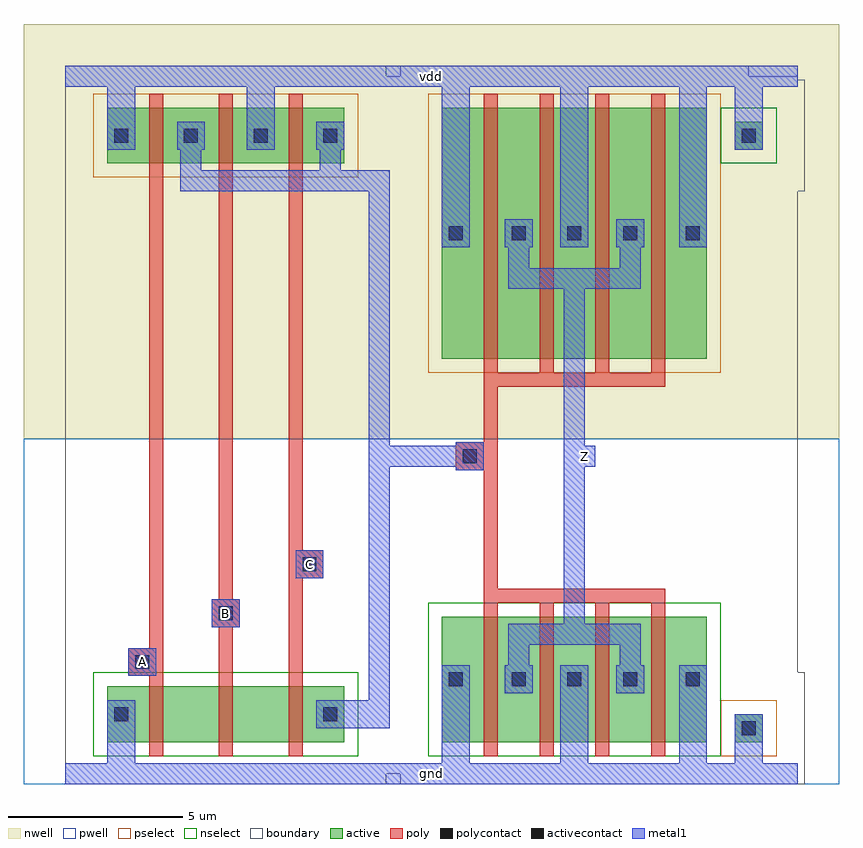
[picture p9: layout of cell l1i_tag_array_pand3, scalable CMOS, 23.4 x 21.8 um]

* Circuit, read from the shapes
.subckt l1i_tag_array_pand3 A B C Z gnd vdd
M1 l1i_tag_array_pnand3_0_0/l1i_tag_array_nmos_m1_w1_600_sm1_dactive_3/D A gnd gnd nfet w=1.6u l=0.4u
M2 l1i_tag_array_pnand3_0_0/l1i_tag_array_nmos_m1_w1_600_sactive_dactive_4/D B l1i_tag_array_pnand3_0_0/l1i_tag_array_nmos_m1_w1_600_sm1_dactive_3/D gnd nfet w=1.6u l=0.4u
M3 l1i_tag_array_pdriver_2_1/A C l1i_tag_array_pnand3_0_0/l1i_tag_array_nmos_m1_w1_600_sactive_dactive_4/D gnd nfet w=1.6u l=0.4u
M4 Z l1i_tag_array_pdriver_2_1/A gnd gnd nfet w=3.6u l=0.4u m=4
M5 l1i_tag_array_pdriver_2_1/A A vdd vdd pfet w=1.6u l=0.4u
M6 vdd B l1i_tag_array_pdriver_2_1/A vdd pfet w=1.6u l=0.4u
M7 l1i_tag_array_pdriver_2_1/A C vdd vdd pfet w=1.6u l=0.4u
M8 Z l1i_tag_array_pdriver_2_1/A vdd vdd pfet w=7.2u l=0.4u m=4
.ends

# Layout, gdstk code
import gdstk
lib = gdstk.Library(unit=1e-6, precision=1e-09)
def R(c, l, rs):  # rectangles x0, y0, x1, y1
    for r in rs: c.add(gdstk.rectangle(r[:2], r[2:], *l))
def A(c, l, x, y, w, h, nx, ny, dx, dy):  # array of equal rectangles
    R(c, l, [(x+i*dx, y+j*dy, x+i*dx+w, y+j*dy+h) for i in range(nx) for j in range(ny)])
pwell = (41, 0)
nwell = (42, 0)
active = (43, 0)
pselect = (44, 0)
nselect = (45, 0)
poly = (46, 0)
polycontact = (47, 0)
activecontact = (48, 0)
metal1 = (49, 0)
boundary = (63, 0)

l1i_tag_array_contact_11 = lib.new_cell('l1i_tag_array_contact_11')
R(l1i_tag_array_contact_11, nwell, [(-1.2,-1.2,2,2)])
R(l1i_tag_array_contact_11, active, [(0,0,0.8,0.8)])
R(l1i_tag_array_contact_11, pselect, [(-0.4,-0.4,1.2,1.2)])
R(l1i_tag_array_contact_11, activecontact, [(0.2,0.2,0.6,0.6)])
R(l1i_tag_array_contact_11, metal1, [(0,0,0.8,0.8)])
R(l1i_tag_array_contact_11, boundary, [(-1.2,-1.2,2,2)])

l1i_tag_array_pmos_m1_w1 = lib.new_cell('l1i_tag_array_pmos_m1_w1_600_sm1_dm1')
R(l1i_tag_array_pmos_m1_w1, nwell, [(-1.2,-1.2,4,2.8)])
R(l1i_tag_array_pmos_m1_w1, active, [(0,0,2.8,1.6)])
R(l1i_tag_array_pmos_m1_w1, pselect, [(-0.4,-0.4,3.2,2)])
R(l1i_tag_array_pmos_m1_w1, poly, [(1.2,-0.4,1.6,2), (1.2,-0.4,1.6,2)])
R(l1i_tag_array_pmos_m1_w1, metal1, [(0,0.4,0.8,1.2), (2,0.4,2.8,1.2)])
R(l1i_tag_array_pmos_m1_w1, boundary, [(-1.2,-1.2,4,2.8)])
l1i_tag_array_pmos_m1_w1.add(gdstk.Reference(l1i_tag_array_contact_11, (0,0.4)))
l1i_tag_array_pmos_m1_w1.add(gdstk.Reference(l1i_tag_array_contact_11, (2,0.4)))
l1i_tag_array_pmos_m1_w1.add(gdstk.Label('G', (1.4,0.8), layer=46, texttype=0))
l1i_tag_array_pmos_m1_w1.add(gdstk.Label('S', (0.4,0.8), layer=49, texttype=0))
l1i_tag_array_pmos_m1_w1.add(gdstk.Label('D', (2.4,0.8), layer=49, texttype=0))

l1i_tag_array_contact_10 = lib.new_cell('l1i_tag_array_contact_10')
R(l1i_tag_array_contact_10, pwell, [(-1.2,-1.2,2,2)])
R(l1i_tag_array_contact_10, active, [(0,0,0.8,0.8)])
R(l1i_tag_array_contact_10, nselect, [(-0.4,-0.4,1.2,1.2)])
R(l1i_tag_array_contact_10, activecontact, [(0.2,0.2,0.6,0.6)])
R(l1i_tag_array_contact_10, metal1, [(0,0,0.8,0.8)])
R(l1i_tag_array_contact_10, boundary, [(-1.2,-1.2,2,2)])

l1i_tag_array_nmos_m1_w1 = lib.new_cell('l1i_tag_array_nmos_m1_w1_600_sm1_dactive')
R(l1i_tag_array_nmos_m1_w1, pwell, [(-1.2,-1.2,4,2.8)])
R(l1i_tag_array_nmos_m1_w1, active, [(0,0,2.8,1.6), (2.1,0.5,2.7,1.1)])
R(l1i_tag_array_nmos_m1_w1, nselect, [(-0.4,-0.4,3.2,2)])
R(l1i_tag_array_nmos_m1_w1, poly, [(1.2,-0.4,1.6,2), (1.2,-0.4,1.6,2)])
R(l1i_tag_array_nmos_m1_w1, metal1, [(0,0.4,0.8,1.2)])
R(l1i_tag_array_nmos_m1_w1, boundary, [(-1.2,-1.2,4,2.8)])
l1i_tag_array_nmos_m1_w1.add(gdstk.Reference(l1i_tag_array_contact_10, (0,0.4)))
l1i_tag_array_nmos_m1_w1.add(gdstk.Label('G', (1.4,0.8), layer=46, texttype=0))
l1i_tag_array_nmos_m1_w1.add(gdstk.Label('S', (0.4,0.8), layer=49, texttype=0))
l1i_tag_array_nmos_m1_w1.add(gdstk.Label('D', (2.4,0.8), layer=43, texttype=0))

c_l1i_tag_array_nmos_m1_w1 = lib.new_cell('l1i_tag_array_nmos_m1_w1_600_sactive_dactive')
R(c_l1i_tag_array_nmos_m1_w1, pwell, [(-1.2,-1.2,4,2.8)])
R(c_l1i_tag_array_nmos_m1_w1, active, [(0,0,2.8,1.6), (0.1,0.5,0.7,1.1), (2.1,0.5,2.7,1.1)])
R(c_l1i_tag_array_nmos_m1_w1, nselect, [(-0.4,-0.4,3.2,2)])
R(c_l1i_tag_array_nmos_m1_w1, poly, [(1.2,-0.4,1.6,2), (1.2,-0.4,1.6,2)])
R(c_l1i_tag_array_nmos_m1_w1, boundary, [(-1.2,-1.2,4,2.8)])
c_l1i_tag_array_nmos_m1_w1.add(gdstk.Label('G', (1.4,0.8), layer=46, texttype=0))
c_l1i_tag_array_nmos_m1_w1.add(gdstk.Label('S', (0.4,0.8), layer=43, texttype=0))
c_l1i_tag_array_nmos_m1_w1.add(gdstk.Label('D', (2.4,0.8), layer=43, texttype=0))

c_l1i_tag_array_nmos_m1_w1_ = lib.new_cell('l1i_tag_array_nmos_m1_w1_600_sactive_dm1')
R(c_l1i_tag_array_nmos_m1_w1_, pwell, [(-1.2,-1.2,4,2.8)])
R(c_l1i_tag_array_nmos_m1_w1_, active, [(0,0,2.8,1.6), (0.1,0.5,0.7,1.1)])
R(c_l1i_tag_array_nmos_m1_w1_, nselect, [(-0.4,-0.4,3.2,2)])
R(c_l1i_tag_array_nmos_m1_w1_, poly, [(1.2,-0.4,1.6,2), (1.2,-0.4,1.6,2)])
R(c_l1i_tag_array_nmos_m1_w1_, metal1, [(2,0.4,2.8,1.2)])
R(c_l1i_tag_array_nmos_m1_w1_, boundary, [(-1.2,-1.2,4,2.8)])
c_l1i_tag_array_nmos_m1_w1_.add(gdstk.Reference(l1i_tag_array_contact_10, (2,0.4)))
c_l1i_tag_array_nmos_m1_w1_.add(gdstk.Label('G', (1.4,0.8), layer=46, texttype=0))
c_l1i_tag_array_nmos_m1_w1_.add(gdstk.Label('S', (0.4,0.8), layer=43, texttype=0))
c_l1i_tag_array_nmos_m1_w1_.add(gdstk.Label('D', (2.4,0.8), layer=49, texttype=0))

l1i_tag_array_contact_14 = lib.new_cell('l1i_tag_array_contact_14')
R(l1i_tag_array_contact_14, poly, [(0,0,0.8,0.8)])
R(l1i_tag_array_contact_14, polycontact, [(0.2,0.2,0.6,0.6)])
R(l1i_tag_array_contact_14, metal1, [(0,0,0.8,0.8)])
R(l1i_tag_array_contact_14, boundary, [(0,0,0.8,0.8)])

l1i_tag_array_pnand3_0 = lib.new_cell('l1i_tag_array_pnand3_0')
R(l1i_tag_array_pnand3_0, pwell, [(-1.2,-0.3,10.8,9.6)])
R(l1i_tag_array_pnand3_0, nwell, [(-1.2,9.6,10.8,21.5)])
A(l1i_tag_array_pnand3_0, poly, 2.4, 2.9, 0.4, 14.2, 3, 1, 2, 0)
R(l1i_tag_array_pnand3_0, poly, [(2.2,2.8,2.4,3.6), (4.4,4.2,4.6,5), (6.4,5.6,7,6.4)])
R(l1i_tag_array_pnand3_0, metal1, [(0,-0.3,9.6,0.3), (1.2,-0.3,2,1.3), (7.6,1.3,9,2.1), (8.7,1.3,9.3,17), (1.8,2.8,2.6,3.6), (4.2,4.2,5,5), (6.6,5.6,7.4,6.4), (3.3,16.7,3.9,17.3), (3.6,16.7,9,17.3), (7.3,16.7,7.9,17.3), (7.6,16.7,9,17.3), (8.7,16.7,9.3,17.3), (3.3,17,3.9,18.3), (7.3,17,7.9,18.3), (1.2,17.9,2,20.3), (5.2,17.9,6,20.3), (0,19.7,9.6,20.3)])
R(l1i_tag_array_pnand3_0, boundary, [(0,0,9.6,20), (0,0,9.6,20)])
l1i_tag_array_pnand3_0.add(gdstk.Reference(l1i_tag_array_pmos_m1_w1, (1.2,17.5)))
l1i_tag_array_pnand3_0.add(gdstk.Reference(l1i_tag_array_pmos_m1_w1, (3.2,17.5)))
l1i_tag_array_pnand3_0.add(gdstk.Reference(l1i_tag_array_pmos_m1_w1, (5.2,17.5)))
l1i_tag_array_pnand3_0.add(gdstk.Reference(l1i_tag_array_nmos_m1_w1, (1.2,0.9)))
l1i_tag_array_pnand3_0.add(gdstk.Reference(c_l1i_tag_array_nmos_m1_w1, (3.2,0.9)))
l1i_tag_array_pnand3_0.add(gdstk.Reference(c_l1i_tag_array_nmos_m1_w1_, (5.2,0.9)))
l1i_tag_array_pnand3_0.add(gdstk.Reference(l1i_tag_array_contact_14, (1.8,2.8)))
l1i_tag_array_pnand3_0.add(gdstk.Reference(l1i_tag_array_contact_14, (4.2,4.2)))
l1i_tag_array_pnand3_0.add(gdstk.Reference(l1i_tag_array_contact_14, (6.6,5.6)))
l1i_tag_array_pnand3_0.add(gdstk.Label('A', (2.2,3.2), layer=49, texttype=0))
l1i_tag_array_pnand3_0.add(gdstk.Label('B', (4.6,4.6), layer=49, texttype=0))
l1i_tag_array_pnand3_0.add(gdstk.Label('C', (7,6), layer=49, texttype=0))
l1i_tag_array_pnand3_0.add(gdstk.Label('Z', (9,17), layer=49, texttype=0))
l1i_tag_array_pnand3_0.add(gdstk.Label('gnd', (4.8,0), layer=49, texttype=0))
l1i_tag_array_pnand3_0.add(gdstk.Label('vdd', (4.8,20), layer=49, texttype=0))

l1i_tag_array_pmos_m4_w7 = lib.new_cell('l1i_tag_array_pmos_m4_w7_200_sm1_dm1_da_p')
R(l1i_tag_array_pmos_m4_w7, nwell, [(-1.2,-1.2,8.8,8.4)])
R(l1i_tag_array_pmos_m4_w7, active, [(0,0,7.6,7.2)])
R(l1i_tag_array_pmos_m4_w7, pselect, [(-0.4,-0.4,8,7.6)])
A(l1i_tag_array_pmos_m4_w7, poly, 1.2, -0.4, 0.4, 8, 4, 1, 1.6, 0)
R(l1i_tag_array_pmos_m4_w7, poly, [(1.2,-0.8,6.4,-0.4)])
A(l1i_tag_array_pmos_m4_w7, metal1, 0, 3.2, 0.8, 0.8, 3, 1, 3.4, 0)
R(l1i_tag_array_pmos_m4_w7, metal1, [(1.9,2,5.7,2.6), (1.9,2.3,2.5,3.6), (5.1,2.3,5.7,3.6)])
R(l1i_tag_array_pmos_m4_w7, boundary, [(-1.2,-1.2,8.8,8.4)])
l1i_tag_array_pmos_m4_w7.add(gdstk.Reference(l1i_tag_array_contact_11, (0,3.2)))
l1i_tag_array_pmos_m4_w7.add(gdstk.Reference(l1i_tag_array_contact_11, (1.8,3.2)))
l1i_tag_array_pmos_m4_w7.add(gdstk.Reference(l1i_tag_array_contact_11, (3.4,3.2)))
l1i_tag_array_pmos_m4_w7.add(gdstk.Reference(l1i_tag_array_contact_11, (5,3.2)))
l1i_tag_array_pmos_m4_w7.add(gdstk.Reference(l1i_tag_array_contact_11, (6.8,3.2)))
l1i_tag_array_pmos_m4_w7.add(gdstk.Label('G', (3.8,-0.6), layer=46, texttype=0))
l1i_tag_array_pmos_m4_w7.add(gdstk.Label('S', (7.2,3.6), layer=49, texttype=0))
l1i_tag_array_pmos_m4_w7.add(gdstk.Label('S', (3.8,3.6), layer=49, texttype=0))
l1i_tag_array_pmos_m4_w7.add(gdstk.Label('S', (0.4,3.6), layer=49, texttype=0))
l1i_tag_array_pmos_m4_w7.add(gdstk.Label('D', (3.8,2.3), layer=49, texttype=0))

l1i_tag_array_nmos_m4_w3 = lib.new_cell('l1i_tag_array_nmos_m4_w3_600_sm1_dm1_da_p')
R(l1i_tag_array_nmos_m4_w3, pwell, [(-1.2,-1.2,8.8,4.8)])
R(l1i_tag_array_nmos_m4_w3, active, [(0,0,7.6,3.6)])
R(l1i_tag_array_nmos_m4_w3, nselect, [(-0.4,-0.4,8,4)])
A(l1i_tag_array_nmos_m4_w3, poly, 1.2, -0.4, 0.4, 4.4, 4, 1, 1.6, 0)
R(l1i_tag_array_nmos_m4_w3, poly, [(1.2,4,6.4,4.4)])
A(l1i_tag_array_nmos_m4_w3, metal1, 0, 1.4, 0.8, 0.8, 3, 1, 3.4, 0)
R(l1i_tag_array_nmos_m4_w3, metal1, [(1.9,1.8,2.5,3.1), (5.1,1.8,5.7,3.1), (1.9,2.8,5.7,3.4)])
R(l1i_tag_array_nmos_m4_w3, boundary, [(-1.2,-1.2,8.8,4.8)])
l1i_tag_array_nmos_m4_w3.add(gdstk.Reference(l1i_tag_array_contact_10, (0,1.4)))
l1i_tag_array_nmos_m4_w3.add(gdstk.Reference(l1i_tag_array_contact_10, (1.8,1.4)))
l1i_tag_array_nmos_m4_w3.add(gdstk.Reference(l1i_tag_array_contact_10, (3.4,1.4)))
l1i_tag_array_nmos_m4_w3.add(gdstk.Reference(l1i_tag_array_contact_10, (5,1.4)))
l1i_tag_array_nmos_m4_w3.add(gdstk.Reference(l1i_tag_array_contact_10, (6.8,1.4)))
l1i_tag_array_nmos_m4_w3.add(gdstk.Label('G', (3.8,4.2), layer=46, texttype=0))
l1i_tag_array_nmos_m4_w3.add(gdstk.Label('S', (3.8,1.8), layer=49, texttype=0))
l1i_tag_array_nmos_m4_w3.add(gdstk.Label('S', (7.2,1.8), layer=49, texttype=0))
l1i_tag_array_nmos_m4_w3.add(gdstk.Label('S', (0.4,1.8), layer=49, texttype=0))
l1i_tag_array_nmos_m4_w3.add(gdstk.Label('D', (3.8,3.1), layer=49, texttype=0))

l1i_tag_array_contact_12 = lib.new_cell('l1i_tag_array_contact_12')
R(l1i_tag_array_contact_12, nwell, [(-1.2,-1.2,2,2)])
R(l1i_tag_array_contact_12, active, [(0,0,0.8,0.8)])
R(l1i_tag_array_contact_12, nselect, [(-0.4,-0.4,1.2,1.2)])
R(l1i_tag_array_contact_12, activecontact, [(0.2,0.2,0.6,0.6)])
R(l1i_tag_array_contact_12, metal1, [(0,0,0.8,0.8)])
R(l1i_tag_array_contact_12, boundary, [(-1.2,-1.2,2,2)])

l1i_tag_array_contact_13 = lib.new_cell('l1i_tag_array_contact_13')
R(l1i_tag_array_contact_13, pwell, [(-1.2,-1.2,2,2)])
R(l1i_tag_array_contact_13, active, [(0,0,0.8,0.8)])
R(l1i_tag_array_contact_13, pselect, [(-0.4,-0.4,1.2,1.2)])
R(l1i_tag_array_contact_13, activecontact, [(0.2,0.2,0.6,0.6)])
R(l1i_tag_array_contact_13, metal1, [(0,0,0.8,0.8)])
R(l1i_tag_array_contact_13, boundary, [(-1.2,-1.2,2,2)])

l1i_tag_array_pinv_12 = lib.new_cell('l1i_tag_array_pinv_12')
R(l1i_tag_array_pinv_12, pwell, [(-1.2,-0.3,12.6,9.6)])
R(l1i_tag_array_pinv_12, nwell, [(-1.2,9.6,12.6,21.5)])
R(l1i_tag_array_pinv_12, poly, [(2.4,5.3,2.8,11.1), (2,8.7,2.4,9.5)])
A(l1i_tag_array_pinv_12, metal1, 1.2, -0.3, 0.8, 2.6, 3, 1, 3.4, 0)
A(l1i_tag_array_pinv_12, metal1, 1.2, 15.1, 0.8, 5.2, 3, 1, 3.4, 0)
R(l1i_tag_array_pinv_12, metal1, [(0,-0.3,11.4,0.3), (9.6,0,10.4,1.3), (4.7,3.7,5.3,14.5), (1.6,8.7,2.4,9.5), (5,8.8,5.6,9.4), (9.6,18.3,10.4,20), (0,19.7,11.4,20.3)])
R(l1i_tag_array_pinv_12, boundary, [(0,0,11.4,20), (0,0,11.4,20)])
l1i_tag_array_pinv_12.add(gdstk.Reference(l1i_tag_array_pmos_m4_w7, (1.2,11.9)))
l1i_tag_array_pinv_12.add(gdstk.Reference(l1i_tag_array_nmos_m4_w3, (1.2,0.9)))
l1i_tag_array_pinv_12.add(gdstk.Reference(l1i_tag_array_contact_12, (9.6,17.9)))
l1i_tag_array_pinv_12.add(gdstk.Reference(l1i_tag_array_contact_13, (9.6,0.9)))
l1i_tag_array_pinv_12.add(gdstk.Reference(l1i_tag_array_contact_14, (1.6,8.7)))
l1i_tag_array_pinv_12.add(gdstk.Label('A', (2,9.1), layer=49, texttype=0))
l1i_tag_array_pinv_12.add(gdstk.Label('Z', (5.3,9.1), layer=49, texttype=0))
l1i_tag_array_pinv_12.add(gdstk.Label('gnd', (5.7,0), layer=49, texttype=0))
l1i_tag_array_pinv_12.add(gdstk.Label('vdd', (5.7,20), layer=49, texttype=0))

l1i_tag_array_pdriver_2 = lib.new_cell('l1i_tag_array_pdriver_2')
R(l1i_tag_array_pdriver_2, pwell, [(-1.2,-0.3,12.6,9.6)])
R(l1i_tag_array_pdriver_2, nwell, [(-1.2,9.6,12.6,21.5)])
R(l1i_tag_array_pdriver_2, metal1, [(0,-0.3,11.4,0.3), (1.6,8.7,2.4,9.5), (5,8.8,5.6,9.4), (0,19.7,11.4,20.3)])
R(l1i_tag_array_pdriver_2, boundary, [(0,0,11.4,20), (0,0,11.4,20)])
l1i_tag_array_pdriver_2.add(gdstk.Reference(l1i_tag_array_pinv_12, (0,0)))
l1i_tag_array_pdriver_2.add(gdstk.Label('Z', (5.3,9.1), layer=49, texttype=0))
l1i_tag_array_pdriver_2.add(gdstk.Label('A', (2,9.1), layer=49, texttype=0))
l1i_tag_array_pdriver_2.add(gdstk.Label('gnd', (5.7,0), layer=49, texttype=0))
l1i_tag_array_pdriver_2.add(gdstk.Label('vdd', (5.7,20), layer=49, texttype=0))

l1i_tag_array_pand3 = lib.new_cell('l1i_tag_array_pand3')
R(l1i_tag_array_pand3, metal1, [(0,-0.3,21,0.3), (1.8,2.8,2.6,3.6), (4.2,4.2,5,5), (6.6,5.6,7.4,6.4), (8.7,8.8,9.3,9.4), (9,8.8,11.6,9.4), (14.6,8.8,15.2,9.4), (8.7,9.1,9.3,17), (0,19.7,21,20.3)])
R(l1i_tag_array_pand3, boundary, [(0,0,21,20), (0,0,21,20)])
l1i_tag_array_pand3.add(gdstk.Reference(l1i_tag_array_pnand3_0, (0,0)))
l1i_tag_array_pand3.add(gdstk.Reference(l1i_tag_array_pdriver_2, (9.6,0)))
l1i_tag_array_pand3.add(gdstk.Label('Z', (14.9,9.1), layer=49, texttype=0))
l1i_tag_array_pand3.add(gdstk.Label('A', (2.2,3.2), layer=49, texttype=0))
l1i_tag_array_pand3.add(gdstk.Label('B', (4.6,4.6), layer=49, texttype=0))
l1i_tag_array_pand3.add(gdstk.Label('C', (7,6), layer=49, texttype=0))
l1i_tag_array_pand3.add(gdstk.Label('gnd', (10.5,0), layer=49, texttype=0))
l1i_tag_array_pand3.add(gdstk.Label('vdd', (10.5,20), layer=49, texttype=0))

lib.write_gds('l1i_tag_array_pand3.gds')
